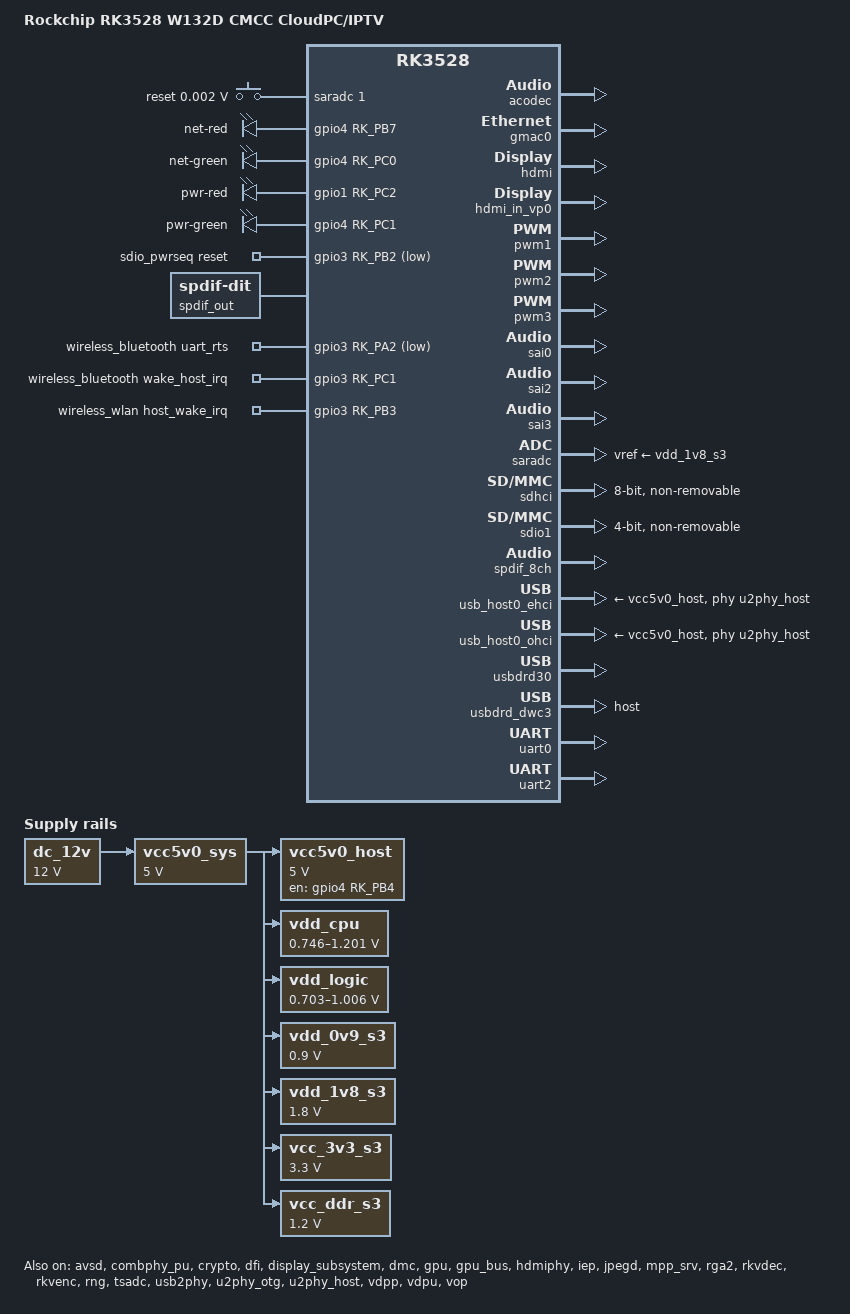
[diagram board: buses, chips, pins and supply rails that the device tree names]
// SPDX-License-Identifier: (GPL-2.0+ OR MIT)
/*
 * Copyright (c) 2025 Armbian for W132D TV Box
 *
 * Device Tree Source for Rockchip RK3528 W132D (CMCC CloudPC/IPTV)
 * Based on hardware configuration from stock Android DTS,
 * adapted for mainline/u-boot kernel (linux-6.1.y-rockchip).
 */

/dts-v1/;

#include <dt-bindings/gpio/gpio.h>
#include <dt-bindings/input/rk-input.h>
#include <dt-bindings/pinctrl/rockchip.h>
#include "rk3528.dtsi"

/ {
	model = "Rockchip RK3528 W132D CMCC CloudPC/IPTV";
	compatible = "rockchip,rk3528-w132d", "rockchip,rk3528";

	aliases {
		ethernet0 = &gmac0;
		mmc0 = &sdhci;
		mmc1 = &sdio1;
	};

	chosen: chosen {
		bootargs = "earlycon=uart8250,mmio32,0xff9f0000 console=ttyS0,1500000n8 rw rootwait video=HDMI-A-1:1920x1080@60";
	};

	fiq_debugger: fiq-debugger {
		compatible = "rockchip,fiq-debugger";
		rockchip,serial-id = <0>;
		rockchip,wake-irq = <0>;
		rockchip,irq-mode-enable = <1>;
		rockchip,baudrate = <1500000>;
		interrupts = <GIC_SPI 186 IRQ_TYPE_LEVEL_HIGH>;
		pinctrl-names = "default";
		pinctrl-0 = <&uart0m0_xfer>;
		status = "disabled";
	};

	firmware: firmware {
		optee {
			compatible = "linaro,optee-tz";
			method = "smc";
		};
	};

	reserved_memory: reserved-memory {
		#address-cells = <2>;
		#size-cells = <2>;
		ranges;

		cma {
			compatible = "shared-dma-pool";
			reusable;
			size = <0x00 0x2000000>;
			linux,cma-default;
		};

		drm_logo: drm-logo@0 {
			compatible = "rockchip,drm-logo";
			reg = <0x0 0x0 0x0 0x0>;
		};

		drm_cubic_lut: drm-cubic-lut@0 {
			compatible = "rockchip,drm-cubic-lut";
			reg = <0x0 0x0 0x0 0x0>;
		};

		ramoops: ramoops@110000 {
			compatible = "ramoops";
			reg = <0x0 0x110000 0x0 0xe0000>;
			boot-log-size = <0x8000>;
			boot-log-count = <1>;
			console-size = <0x80000>;
			pmsg-size = <0x30000>;
			ftrace-size = <0>;
			record-size = <0x14000>;
		};
	};

	acodec_sound: acodec-sound {
		status = "okay";
		compatible = "simple-audio-card";
		simple-audio-card,name = "rk3528-acodec";
		simple-audio-card,format = "i2s";
		simple-audio-card,mclk-fs = <256>;
		simple-audio-card,cpu {
			sound-dai = <&sai2>;
		};
		simple-audio-card,codec {
			sound-dai = <&acodec>;
		};
	};

	adc_keys: adc-keys {
		status = "okay";
		compatible = "adc-keys";
		io-channels = <&saradc 1>;
		io-channel-names = "buttons";
		keyup-threshold-microvolt = <1800000>;
		poll-interval = <100>;

		reset-key {
			label = "reset";
			linux,code = <KEY_POWER>;
			press-threshold-microvolt = <1750>;
		};
	};

	bt_sco: bt-sco {
		status = "okay";
		compatible = "delta,dfbmcs320";
		#sound-dai-cells = <1>;
	};

	bt_sound: bt-sound {
		status = "okay";
		compatible = "simple-audio-card";
		simple-audio-card,format = "dsp_a";
		simple-audio-card,bitclock-inversion;
		simple-audio-card,mclk-fs = <256>;
		simple-audio-card,name = "rockchip,bt";
		simple-audio-card,cpu {
			sound-dai = <&sai0>;
		};
		simple-audio-card,codec {
			sound-dai = <&bt_sco 1>;
		};
	};

	dc_12v: dc-12v {
		compatible = "regulator-fixed";
		regulator-name = "dc_12v";
		regulator-always-on;
		regulator-boot-on;
		regulator-min-microvolt = <12000000>;
		regulator-max-microvolt = <12000000>;
	};

	hdmi_sound: hdmi-sound {
		compatible = "rockchip,hdmi";
		rockchip,mclk-fs = <128>;
		rockchip,card-name = "rockchip,hdmi";
		rockchip,cpu = <&sai3>;
		rockchip,codec = <&hdmi>;
		rockchip,jack-det;
	};

	leds: gpio-leds {
		compatible = "gpio-leds";

		net-red {
			gpios = <&gpio4 RK_PB7 GPIO_ACTIVE_HIGH>;
			linux,default-trigger = "none";
			default-state = "off";
		};

		net-green {
			gpios = <&gpio4 RK_PC0 GPIO_ACTIVE_HIGH>;
			linux,default-trigger = "none";
			default-state = "off";
		};

		pwr-red {
			gpios = <&gpio1 RK_PC2 GPIO_ACTIVE_HIGH>;
			linux,default-trigger = "none";
			default-state = "off";
			retain-state-suspended;
			retain-state-shutdown;
		};

		pwr-green {
			gpios = <&gpio4 RK_PC1 GPIO_ACTIVE_HIGH>;
			linux,default-trigger = "none";
			default-state = "on";
			retain-state-suspended;
			retain-state-shutdown;
		};
	};

	/*
	 * WiFi/BT power sequence.
	 * wifi-enable-h (GPIO3_PB2) is the regulator enable for WiFi;
	 * wifi-reset (GPIO3_PB4) is the reset line.
	 * Both are referenced by the sdio_pwrseq node.
	 */
	sdio_pwrseq: sdio-pwrseq {
		compatible = "mmc-pwrseq-simple";
		pinctrl-names = "default";
		pinctrl-0 = <&wifi_reg_on_h &wifi_reset>;
		/*
		 * GPIO3_PB2 = wifi enable (reg_on), active high
		 * The pwrseq driver asserts this before scanning SDIO.
		 */
		reset-gpios = <&gpio3 RK_PB2 GPIO_ACTIVE_LOW>;
	};

	spdif_out: spdif-out {
		status = "okay";
		compatible = "linux,spdif-dit";
		#sound-dai-cells = <0>;
	};

	spdif-sound {
		status = "okay";
		compatible = "simple-audio-card";
		simple-audio-card,name = "ROCKCHIP,SPDIF";
		simple-audio-card,cpu {
			sound-dai = <&spdif_8ch>;
		};
		simple-audio-card,codec {
			sound-dai = <&spdif_out>;
		};
	};

	/* Root 5V system supply from DC 12V */
	vcc5v0_sys: vcc5v0-sys {
		compatible = "regulator-fixed";
		regulator-name = "vcc5v0_sys";
		regulator-always-on;
		regulator-boot-on;
		regulator-min-microvolt = <5000000>;
		regulator-max-microvolt = <5000000>;
		vin-supply = <&dc_12v>;
	};

	/*
	 * USB Host 5V supply.
	 * GPIO4_PB4 controls the 5V boost/enable for USB ports.
	 * This was the root cause of USB 2.0 not working ?
	 * the earlier DTS had GPIO4_PB4 instead of GPIO4_PC4.
	 */
	vcc5v0_host: vcc5v0-host-regulator {
		compatible = "regulator-fixed";
		regulator-name = "vcc5v0_host";
		regulator-boot-on;
		regulator-always-on;
		regulator-min-microvolt = <5000000>;
		regulator-max-microvolt = <5000000>;
		enable-active-high;
		gpio = <&gpio4 RK_PB4 GPIO_ACTIVE_HIGH>;
		vin-supply = <&vcc5v0_sys>;
		pinctrl-names = "default";
		pinctrl-0 = <&vcc5v0_host_en>;
	};

	/*
	 * CPU voltage: PWM regulator on PWM1 channel 0.
	 * This matches the Android DTS: pwms = <pwm1 0 5000 1>
	 */
	vdd_cpu: vdd-cpu {
		compatible = "pwm-regulator";
		pwms = <&pwm1 0 5000 1>;
		regulator-name = "vdd_cpu";
		regulator-min-microvolt = <746000>;
		regulator-max-microvolt = <1201000>;
		regulator-init-microvolt = <953000>;
		regulator-always-on;
		regulator-boot-on;
		regulator-settling-time-up-us = <250>;
		pwm-supply = <&vcc5v0_sys>;
	};

	/*
	 * Logic voltage: PWM regulator on PWM2 channel 0.
	 */
	vdd_logic: vdd-logic {
		compatible = "pwm-regulator";
		pwms = <&pwm2 0 5000 1>;
		regulator-name = "vdd_logic";
		regulator-min-microvolt = <703000>;
		regulator-max-microvolt = <1006000>;
		regulator-init-microvolt = <900000>;
		regulator-always-on;
		regulator-boot-on;
		regulator-settling-time-up-us = <250>;
		pwm-supply = <&vcc5v0_sys>;
	};

	vdd_0v9_s3: vdd-0v9-s3 {
		compatible = "regulator-fixed";
		regulator-name = "vdd_0v9_s3";
		regulator-always-on;
		regulator-boot-on;
		regulator-min-microvolt = <900000>;
		regulator-max-microvolt = <900000>;
		vin-supply = <&vcc5v0_sys>;
	};

	vdd_1v8_s3: vdd-1v8-s3 {
		compatible = "regulator-fixed";
		regulator-name = "vdd_1v8_s3";
		regulator-always-on;
		regulator-boot-on;
		regulator-min-microvolt = <1800000>;
		regulator-max-microvolt = <1800000>;
		vin-supply = <&vcc5v0_sys>;
	};

	vcc_3v3_s3: vcc-3v3-s3 {
		compatible = "regulator-fixed";
		regulator-name = "vcc_3v3_s3";
		regulator-always-on;
		regulator-boot-on;
		regulator-min-microvolt = <3300000>;
		regulator-max-microvolt = <3300000>;
		vin-supply = <&vcc5v0_sys>;
	};

	vcc_ddr_s3: vcc-ddr-s3 {
		compatible = "regulator-fixed";
		regulator-name = "vcc_ddr_s3";
		regulator-always-on;
		regulator-boot-on;
		regulator-min-microvolt = <1200000>;
		regulator-max-microvolt = <1200000>;
		vin-supply = <&vcc5v0_sys>;
	};

	/*
	 * Bluetooth: UART2 + RTS GPIO + wake host IRQ.
	 * The chip is likely Realtek RTL8761B or similar.
	 * BT,wake_host_irq = GPIO3_PC1
	 * uart_rts_gpios = GPIO3_PA2
	 */
	wireless_bluetooth: wireless-bluetooth {
		compatible = "bluetooth-platdata";
		uart_rts_gpios = <&gpio3 RK_PA2 GPIO_ACTIVE_LOW>;
		pinctrl-names = "default", "rts_gpio";
		pinctrl-0 = <&uart2m0_xfer &uart2m0_ctsn>;
		pinctrl-1 = <&uart2m0_gpios>;
		BT,wake_host_irq = <&gpio3 RK_PC1 GPIO_ACTIVE_HIGH>;
		status = "okay";
	};

	/*
	 * WiFi: SDIO-attached, likely Sprd wireless chipset.
	 * host_wake_irq = GPIO3_PB3
	 */
	wireless_wlan: wireless-wlan {
		compatible = "wlan-platdata";
		rockchip,grf = <&grf>;
		wifi_chip_type = "sprdwl";
		pinctrl-names = "default";
		pinctrl-0 = <&wifi_host_wake_irq>;
		WIFI,host_wake_irq = <&gpio3 RK_PB3 GPIO_ACTIVE_HIGH>;
		status = "okay";
	};

	/*
	 * Poweroff: uses syscon-poweroff via the RK3528 internal PMU.
	 * This is the standard approach for RK3528 boards without an
	 * external PMIC that has a dedicated poweroff GPIO.
	 */
	pmu_poweroff: pmu-poweroff {
		compatible = "syscon-poweroff";
		regmap = <&pmu>;
		offset = <0x0020>;
		mask = <0x0001>;
	};
};

&acodec {
	pa-ctl-gpios = <&gpio4 RK_PA2 GPIO_ACTIVE_HIGH>;
	status = "okay";
};

&avsd {
	status = "okay";
};

/*
 * CombPHY: used for USB 3.0 SuperSpeed signaling.
 * Must have rockchip,u3phy-only since W132D only uses USB3 host.
 */
&combphy_pu {
	rockchip,enable-ssc;
	rockchip,u3phy-only;
	status = "okay";
};

&cpu0 {
	cpu-supply = <&vdd_cpu>;
};

&crypto {
	status = "okay";
};

&dfi {
	status = "okay";
};

&display_subsystem {
	memory-region = <&drm_logo>, <&drm_cubic_lut>;
	memory-region-names = "drm-logo", "drm-cubic-lut";
	status = "okay";

	route {
		route_hdmi: route-hdmi {
			status = "okay";
			logo,uboot = "logo.bmp";
			logo,kernel = "logo_kernel.bmp";
			logo,mode = "center";
			charge_logo,mode = "center";
			connect = <&vp0_out_hdmi>;
		};
		route_tve: route-tve {
			status = "disabled";
		};
	};
};

&dmc {
	center-supply = <&vdd_logic>;
	status = "okay";
};

&gmac0 {
	status = "okay";
};

&gpu {
	mali-supply = <&vdd_logic>;
	status = "okay";
};

&gpu_bus {
	bus-supply = <&vdd_logic>;
	status = "okay";
};

&hdmi {
	status = "okay";
};

&hdmi_in_vp0 {
	status = "okay";
};

&hdmiphy {
	status = "okay";
};

&iep {
	status = "okay";
};

&iep_mmu {
	status = "okay";
};

&jpegd {
	status = "okay";
};

&jpegd_mmu {
	status = "okay";
};

&mpp_srv {
	status = "okay";
};

&pinctrl {
	usb {
		/*
		 * USB 5V host power enable: GPIO4_PC4.
		 * CORRECTED from GPIO4_PB4 ? this was the root cause
		 * of USB 2.0 ports having no power.
		 */
		vcc5v0_host_en: vcc5v0-host-en {
			rockchip,pins = <4 RK_PB4 RK_FUNC_GPIO &pcfg_pull_none>;
		};
	};

	sdio-pwrseq {
		/*
		 * WiFi regulator enable: GPIO3_PB2
		 */
		wifi_reg_on_h: wifi-reg-on-h {
			rockchip,pins = <3 RK_PB2 RK_FUNC_GPIO &pcfg_pull_none>;
		};
	};

	wireless-wlan {
		/*
		 * WiFi host wake: GPIO3_PB3, pull-down
		 */
		wifi_host_wake_irq: wifi-host-wake-irq {
			rockchip,pins = <3 RK_PB3 RK_FUNC_GPIO &pcfg_pull_down>;
		};

		/*
		 * WiFi reset: GPIO3_PB4, output high
		 */
		wifi_reset: wifi-reset {
			rockchip,pins = <3 RK_PB4 RK_FUNC_GPIO &pcfg_output_high>;
		};
	};

	wireless-bluetooth {
		/*
		 * BT RTS control: GPIO3_PA2
		 */
		uart2m0_gpios: uart2m0-gpios {
			rockchip,pins = <3 RK_PA2 RK_FUNC_GPIO &pcfg_pull_none>;
		};
	};
};

&pmu {
	system-power-controller;
	status = "okay";
};

&pwm1 {
	status = "okay";
};

&pwm2 {
	status = "okay";
};

&pwm3 {
	compatible = "rockchip,remotectl-pwm";
	pinctrl-names = "default";
	pinctrl-0 = <&pwm3m0_pins>;
	remote_pwm_id = <3>;
	handle_cpu_id = <1>;
	remote_support_psci = <0>;
	status = "okay";
};

&rga2 {
	status = "okay";
};

&rga2_mmu {
	status = "okay";
};

&rkvdec {
	status = "okay";
};

&rkvdec_mmu {
	status = "okay";
};

&rkvenc {
	status = "okay";
};

&rkvenc_mmu {
	status = "okay";
};

&rng {
	status = "okay";
};

&rockchip_suspend {
	status = "okay";
	rockchip,sleep-debug-en = <1>;
	rockchip,virtual-poweroff = <1>;
	rockchip,sleep-mode-config = <
		(0
		| RKPM_SLP_ARMPD
		)
	>;
	rockchip,wakeup-config = <
		(0
		| RKPM_CPU0_WKUP_EN
		| RKPM_GPIO_WKUP_EN
		)
	>;
	rockchip,pwm-regulator-config = <
		(0
		| RKPM_PWM1_M0_REGULATOR_EN
		)
	>;
};

&sai0 {
	pinctrl-0 = <&i2s0m0_lrck &i2s0m0_sclk &i2s0m0_sdi &i2s0m0_sdo>;
	status = "okay";
};

&sai2 {
	status = "okay";
};

&sai3 {
	status = "okay";
};

&saradc {
	status = "okay";
	vref-supply = <&vdd_1v8_s3>;
};

&sdhci {
	bus-width = <8>;
	supports-emmc;
	non-removable;
	mmc-hs400-1_8v;
	mmc-hs400-enhanced-strobe;
	max-frequency = <200000000>;
	fixed-emmc-driver-type = <4>;
	status = "okay";
};

&sdio1 {
	max-frequency = <200000000>;
	no-sd;
	no-mmc;
	supports-sdio;
	bus-width = <4>;
	disable-wp;
	cap-sd-highspeed;
	cap-sdio-irq;
	keep-power-in-suspend;
	non-removable;
	mmc-pwrseq = <&sdio_pwrseq>;
	pinctrl-names = "default";
	pinctrl-0 = <&sdio1_bus4 &sdio1_cmd &sdio1_clk>;
	sd-uhs-sdr104;
	status = "okay";
};

&spdif_8ch {
	status = "okay";
};

&tsadc {
	status = "okay";
};

&tve {
	status = "disabled";
};

&tve_in_vp1 {
	status = "disabled";
};

/*
 * USB 2.0 PHYs: OTG and Host ports.
 * Both PHYs are powered by the GPIO-controlled vcc5v0_host regulator.
 * The OTG PHY is used for USB 2.0 on the DWC3 (USB 3.0) controller.
 * The Host PHY serves the separate EHCI/OHCI controllers (USB 2.0 ports).
 */
&usb2phy {
	status = "okay";
};

&u2phy_otg {
	phy-supply = <&vcc5v0_host>;
	status = "okay";
};

&u2phy_host {
	phy-supply = <&vcc5v0_host>;
	status = "okay";
};

/*
 * EHCI/OHCI USB 2.0 host controllers.
 * These drive the 3 USB 2.0 ports on W132D.
 */
&usb_host0_ehci {
	phys = <&u2phy_host>;
	phy-names = "usb";
	power-domains = <&power RK3528_PD_VO>;
	vbus-supply = <&vcc5v0_host>;
	status = "okay";
};

&usb_host0_ohci {
	phys = <&u2phy_host>;
	phy-names = "usb";
	power-domains = <&power RK3528_PD_VO>;
	vbus-supply = <&vcc5v0_host>;
	status = "okay";
};

/*
 * USB 3.0 (DWC3) controller.
 * Uses u2phy_otg for USB 2.0 and combphy_pu for USB 3.0 SuperSpeed.
 * Quirks and extcon match stock Android DTS configuration.
 * dr_mode = "host" since W132D only needs host mode (no gadget/OTG).
 */
&usbdrd30 {
	status = "okay";
};

&usbdrd_dwc3 {
	dr_mode = "host";
	phy_type = "utmi_wide";
	snps,dis_enblslpm_quirk;
	snps,dis-u1u2-quirk;
	snps,dis-u2-freeclk-exists-quirk;
	snps,dis-del-phy-power-chg-quirk;
	snps,dis-tx-ipgap-linecheck-quirk;
	snps,xhci-trb-ent-quirk;
	snps,dis_rxdet_inp3_quirk;
	quirk-skip-phy-init;
	power-domains = <&power RK3528_PD_VPU>;
	extcon = <&usb2phy>;
	status = "okay";
};

&uart0 {
	status = "okay";
	pinctrl-names = "default";
	pinctrl-0 = <&uart0m0_xfer>;
};

/*
 * UART2: used for Bluetooth HCI.
 * The BT chip uses hardware flow control (RTS/CTS).
 */
&uart2 {
	status = "okay";
	pinctrl-names = "default";
	pinctrl-0 = <&uart2m0_xfer &uart2m0_ctsn>;
};

&vdpp {
	status = "okay";
};

&vdpu {
	status = "okay";
};

&vdpu_mmu {
	status = "okay";
};

&vop {
	status = "okay";
};

&vop_mmu {
	status = "okay";
};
